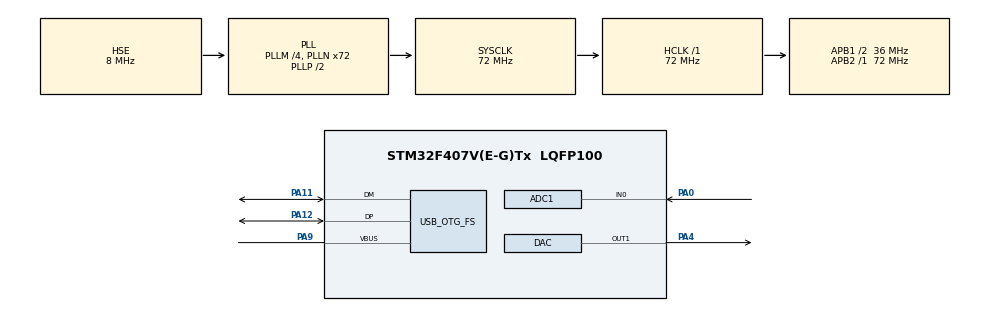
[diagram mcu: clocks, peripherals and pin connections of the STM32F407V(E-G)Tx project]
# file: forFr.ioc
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ADC1.Channel-0\#ChannelRegularConversion=ADC_CHANNEL_0
ADC1.ClockPrescaler=ADC_CLOCK_SYNC_PCLK_DIV2
ADC1.ContinuousConvMode=DISABLE
ADC1.DMAContinuousRequests=ENABLE
ADC1.DataAlign=ADC_DATAALIGN_RIGHT
ADC1.DiscontinuousConvMode=DISABLE
ADC1.EOCSelection=ADC_EOC_SINGLE_CONV
ADC1.EnableAnalogWatchDog=false
ADC1.ExternalTrigConv=ADC_EXTERNALTRIGCONV_T2_TRGO
ADC1.ExternalTrigConvEdge=ADC_EXTERNALTRIGCONVEDGE_RISING
ADC1.InjNumberOfConversion=0
ADC1.NbrOfConversion=1
ADC1.NbrOfConversionFlag=1
ADC1.Rank-0\#ChannelRegularConversion=1
ADC1.Resolution=ADC_RESOLUTION_12B
ADC1.SamplingTime-0\#ChannelRegularConversion=ADC_SAMPLETIME_3CYCLES
ADC1.ScanConvMode=ENABLE
ADC1.master=1
DAC.DAC_Trigger=DAC_TRIGGER_T2_TRGO
Dma.ADC1.0.Direction=DMA_PERIPH_TO_MEMORY
Dma.ADC1.0.FIFOMode=DMA_FIFOMODE_ENABLE
Dma.ADC1.0.FIFOThreshold=DMA_FIFO_THRESHOLD_FULL
Dma.ADC1.0.Instance=DMA2_Stream0
Dma.ADC1.0.MemBurst=DMA_MBURST_SINGLE
Dma.ADC1.0.MemDataAlignment=DMA_MDATAALIGN_HALFWORD
Dma.ADC1.0.MemInc=DMA_MINC_ENABLE
Dma.ADC1.0.Mode=DMA_CIRCULAR
Dma.ADC1.0.PeriphBurst=DMA_PBURST_SINGLE
Dma.ADC1.0.PeriphDataAlignment=DMA_PDATAALIGN_HALFWORD
Dma.ADC1.0.PeriphInc=DMA_PINC_DISABLE
Dma.ADC1.0.Priority=DMA_PRIORITY_LOW
Dma.DAC1.1.Direction=DMA_MEMORY_TO_PERIPH
Dma.DAC1.1.FIFOMode=DMA_FIFOMODE_DISABLE
Dma.DAC1.1.Instance=DMA1_Stream5
Dma.DAC1.1.MemDataAlignment=DMA_MDATAALIGN_HALFWORD
Dma.DAC1.1.MemInc=DMA_MINC_ENABLE
Dma.DAC1.1.Mode=DMA_CIRCULAR
Dma.DAC1.1.PeriphDataAlignment=DMA_PDATAALIGN_HALFWORD
Dma.DAC1.1.PeriphInc=DMA_PINC_DISABLE
Dma.DAC1.1.Priority=DMA_PRIORITY_MEDIUM
Dma.Request0=ADC1
Dma.Request1=DAC1
Mcu.Family=STM32F4
Mcu.Name=STM32F407V(E-G)Tx
Mcu.Package=LQFP100
NVIC.DMA1_Stream5_IRQn=true\:0\:0\:false\:false\:true\:false
NVIC.DMA2_Stream0_IRQn=true\:0\:0\:false\:false\:true\:false
NVIC.OTG_FS_IRQn=true\:0\:0\:false\:false\:true\:false
NVIC.PriorityGroup=NVIC_PRIORITYGROUP_0
NVIC.TIM2_IRQn=true\:0\:0\:false\:false\:true\:true
NVIC.TIM7_IRQn=true\:0\:0\:false\:false\:true\:true
PA0-WKUP.Signal=ADCx_IN0
PA11.Mode=Device_Only
PA11.Signal=USB_OTG_FS_DM
PA12.Mode=Device_Only
PA12.Signal=USB_OTG_FS_DP
PA13.Mode=Serial_Wire
PA13.Signal=SYS_JTMS-SWDIO
PA14.Mode=Serial_Wire
PA14.Signal=SYS_JTCK-SWCLK
PA4.Signal=COMP_DAC1_group
PA9.Mode=Activate_VBUS
PA9.Signal=USB_OTG_FS_VBUS
PH0-OSC_IN.Mode=HSE-External-Oscillator
PH0-OSC_IN.Signal=RCC_OSC_IN
PH1-OSC_OUT.Mode=HSE-External-Oscillator
PH1-OSC_OUT.Signal=RCC_OSC_OUT
ProjectManager.HeapSize=0x4000
ProjectManager.StackSize=0x4000
ProjectManager.TargetToolchain=EWARM V7
RCC.48MHZClocksFreq_Value=48000000
RCC.AHBFreq_Value=72000000
RCC.APB1CLKDivider=RCC_HCLK_DIV2
RCC.APB1Freq_Value=36000000
RCC.APB1TimFreq_Value=72000000
RCC.APB2Freq_Value=72000000
RCC.APB2TimFreq_Value=72000000
RCC.CortexFreq_Value=72000000
RCC.HCLKFreq_Value=72000000
RCC.HSE_VALUE=8000000
RCC.HSI_VALUE=16000000
RCC.LSE_VALUE=32768
RCC.PLLM=4
RCC.PLLN=72
RCC.PLLQ=3
RCC.SYSCLKFreq_VALUE=72000000
RCC.SYSCLKSource=RCC_SYSCLKSOURCE_PLLCLK
RCC.VCOOutputFreq_Value=144000000
SH.ADCx_IN0.0=ADC1_IN0,IN0
SH.COMP_DAC1_group.0=DAC_OUT1,DAC_OUT1
TIM2.Period=7
TIM2.Prescaler=8999
TIM2.TIM_MasterOutputTrigger=TIM_TRGO_UPDATE
TIM7.Period=7999
TIM7.Prescaler=8999
USB_DEVICE.CLASS_NAME_FS=CDC
USB_DEVICE.VirtualMode-CDC_FS=Cdc
USB_DEVICE.VirtualModeFS=Cdc_FS
USB_OTG_FS.VirtualMode=Device_Only
VP_TIM2_VS_ClockSourceINT.Mode=Internal
VP_TIM7_VS_ClockSourceINT.Mode=Enable_Timer
VP_USB_DEVICE_VS_USB_DEVICE_CDC_FS.Mode=CDC_FS
board=STM32F4DISCOVERY

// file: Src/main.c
/**
  ******************************************************************************
  * @file           : main.c
  * @brief          : Main program body
  ******************************************************************************
  * This notice applies to any and all portions of this file
  * that are not between comment pairs USER CODE BEGIN and
  * USER CODE END. Other portions of this file, whether
  * inserted by the user or by software development tools
  * are owned by their respective copyright owners.
  *
  * Copyright (c) 2019 STMicroelectronics International N.V.
  * All rights reserved.
  *
  * Redistribution and use in source and binary forms, with or without
  * modification, are permitted, provided that the following conditions are met:
  *
  * 1. Redistribution of source code must retain the above copyright notice,
  *    this list of conditions and the following disclaimer.
  * 2. Redistributions in binary form must reproduce the above copyright notice,
  *    this list of conditions and the following disclaimer in the documentation
  *    and/or other materials provided with the distribution.
  * 3. Neither the name of STMicroelectronics nor the names of other
  *    contributors to this software may be used to endorse or promote products
  *    derived from this software without specific written permission.
  * 4. This software, including modifications and/or derivative works of this
  *    software, must execute solely and exclusively on microcontroller or
  *    microprocessor devices manufactured by or for STMicroelectronics.
  * 5. Redistribution and use of this software other than as permitted under
  *    this license is void and will automatically terminate your rights under
  *    this license.
  *
  * THIS SOFTWARE IS PROVIDED BY STMICROELECTRONICS AND CONTRIBUTORS "AS IS"
  * AND ANY EXPRESS, IMPLIED OR STATUTORY WARRANTIES, INCLUDING, BUT NOT
  * LIMITED TO, THE IMPLIED WARRANTIES OF MERCHANTABILITY, FITNESS FOR A
  * PARTICULAR PURPOSE AND NON-INFRINGEMENT OF THIRD PARTY INTELLECTUAL PROPERTY
  * RIGHTS ARE DISCLAIMED TO THE FULLEST EXTENT PERMITTED BY LAW. IN NO EVENT
  * SHALL STMICROELECTRONICS OR CONTRIBUTORS BE LIABLE FOR ANY DIRECT, INDIRECT,
  * INCIDENTAL, SPECIAL, EXEMPLARY, OR CONSEQUENTIAL DAMAGES (INCLUDING, BUT NOT
  * LIMITED TO, PROCUREMENT OF SUBSTITUTE GOODS OR SERVICES; LOSS OF USE, DATA,
  * OR PROFITS; OR BUSINESS INTERRUPTION) HOWEVER CAUSED AND ON ANY THEORY OF
  * LIABILITY, WHETHER IN CONTRACT, STRICT LIABILITY, OR TORT (INCLUDING
  * NEGLIGENCE OR OTHERWISE) ARISING IN ANY WAY OUT OF THE USE OF THIS SOFTWARE,
  * EVEN IF ADVISED OF THE POSSIBILITY OF SUCH DAMAGE.
  *
  ******************************************************************************
  */
#include "main.h"
#include "stm32f4xx_hal.h"
#include "usb_device.h"

ADC_HandleTypeDef hadc1;
DMA_HandleTypeDef hdma_adc1;

TIM_HandleTypeDef htim2;
TIM_HandleTypeDef htim7;

/* USER CODE BEGIN PV */
/* Private variables ---------------------------------------------------------*/

/* USER CODE END PV */

void SystemClock_Config(void);
static void MX_GPIO_Init(void);
static void MX_DMA_Init(void);
static void MX_ADC1_Init(void);
static void MX_TIM2_Init(void);
static void MX_TIM7_Init(void);
static void MX_DAC_Init(void);

/* USER CODE BEGIN PFP */
/* Private function prototypes -----------------------------------------------*/

/* USER CODE END PFP */

/* USER CODE BEGIN 0 */
uint16_t ADC_Data;
uint32_t summ_ADC_DATA=0;
uint32_t cnt_adc=0;
uint32_t srednee;
uint8_t  sendData=0;

void TIM2_IRQHandler(void)
{
  HAL_TIM_IRQHandler(&htim2);

  summ_ADC_DATA += ADC_Data;
  cnt_adc++;
}

void TIM7_IRQHandler(void)
{
  HAL_TIM_IRQHandler(&htim7);

  //при 4095 соответствующем 3.3В, то значение в мВ:
  srednee = summ_ADC_DATA / cnt_adc*3300/4095;
  sendData = 1;
  summ_ADC_DATA = 0;
  cnt_adc=0;
}

/* USER CODE END 0 */

int main(void)
{

  /* MCU Configuration----------------------------------------------------------*/

  /* Reset of all peripherals, Initializes the Flash interface and the Systick. */
  HAL_Init();

  /* Configure the system clock */
  SystemClock_Config();

  /* Initialize all configured peripherals */
  MX_GPIO_Init();
  MX_DMA_Init();
  MX_USB_DEVICE_Init();
  MX_ADC1_Init();
  MX_TIM2_Init();
  MX_TIM7_Init();
  MX_DAC_Init();
  /* USER CODE BEGIN 2 */

  HAL_TIM_Base_Start(&htim2);
  HAL_TIM_Base_Start_IT(&htim2);
  HAL_TIM_Base_Start_IT(&htim7);

  HAL_ADC_Start_DMA(&hadc1,(uint32_t*)&ADC_Data,1);
  //HAL_DAC_Start_DMA(&hdac, DAC_CHANNEL_1,(uint32_t*)&ADC_Data,1,DAC_ALIGN_12B_R);
  LL_DAC_Enable(DAC, LL_DAC_CHANNEL_1);
  /* USER CODE END 2 */

  /* Infinite loop */
  while (1)
  {

  /* USER CODE BEGIN 3 */
    HAL_Delay(10);
    LL_DAC_ConvertData12RightAligned(DAC, LL_DAC_CHANNEL_1,(uint32_t)ADC_Data);
    if(sendData)
    {
      uint8_t str[64]="\0";
      sprintf((char*)str,"%d mV\r",srednee);
      printf("%s\n",str);
      CDC_Transmit_FS(str,strlen((char*)str));
      sendData = 0;
    }

  }
  /* USER CODE END 3 */

}

void SystemClock_Config(void)
{

  RCC_OscInitTypeDef RCC_OscInitStruct;
  RCC_ClkInitTypeDef RCC_ClkInitStruct;

    /**Configure the main internal regulator output voltage
    */
  __HAL_RCC_PWR_CLK_ENABLE();

  __HAL_PWR_VOLTAGESCALING_CONFIG(PWR_REGULATOR_VOLTAGE_SCALE1);

    /**Initializes the CPU, AHB and APB busses clocks
    */
  RCC_OscInitStruct.OscillatorType = RCC_OSCILLATORTYPE_HSE;
  RCC_OscInitStruct.HSEState = RCC_HSE_ON;
  RCC_OscInitStruct.PLL.PLLState = RCC_PLL_ON;
  RCC_OscInitStruct.PLL.PLLSource = RCC_PLLSOURCE_HSE;
  RCC_OscInitStruct.PLL.PLLM = 4;
  RCC_OscInitStruct.PLL.PLLN = 72;
  RCC_OscInitStruct.PLL.PLLP = RCC_PLLP_DIV2;
  RCC_OscInitStruct.PLL.PLLQ = 3;
  if (HAL_RCC_OscConfig(&RCC_OscInitStruct) != HAL_OK)
  {
    _Error_Handler(__FILE__, __LINE__);
  }

    /**Initializes the CPU, AHB and APB busses clocks
    */
  RCC_ClkInitStruct.ClockType = RCC_CLOCKTYPE_HCLK|RCC_CLOCKTYPE_SYSCLK
                              |RCC_CLOCKTYPE_PCLK1|RCC_CLOCKTYPE_PCLK2;
  RCC_ClkInitStruct.SYSCLKSource = RCC_SYSCLKSOURCE_PLLCLK;
  RCC_ClkInitStruct.AHBCLKDivider = RCC_SYSCLK_DIV1;
  RCC_ClkInitStruct.APB1CLKDivider = RCC_HCLK_DIV2;
  RCC_ClkInitStruct.APB2CLKDivider = RCC_HCLK_DIV1;

  if (HAL_RCC_ClockConfig(&RCC_ClkInitStruct, FLASH_LATENCY_2) != HAL_OK)
  {
    _Error_Handler(__FILE__, __LINE__);
  }

    /**Configure the Systick interrupt time
    */
  HAL_SYSTICK_Config(HAL_RCC_GetHCLKFreq()/1000);

    /**Configure the Systick
    */
  HAL_SYSTICK_CLKSourceConfig(SYSTICK_CLKSOURCE_HCLK);

  /* SysTick_IRQn interrupt configuration */
  HAL_NVIC_SetPriority(SysTick_IRQn, 0, 0);
}

/* ADC1 init function */
static void MX_ADC1_Init(void)
{

  ADC_ChannelConfTypeDef sConfig;

    /**Configure the global features of the ADC (Clock, Resolution, Data Alignment and number of conversion)
    */
  hadc1.Instance = ADC1;
  hadc1.Init.ClockPrescaler = ADC_CLOCK_SYNC_PCLK_DIV2;
  hadc1.Init.Resolution = ADC_RESOLUTION_12B;
  hadc1.Init.ScanConvMode = ENABLE;
  hadc1.Init.ContinuousConvMode = DISABLE;
  hadc1.Init.DiscontinuousConvMode = DISABLE;
  hadc1.Init.ExternalTrigConvEdge = ADC_EXTERNALTRIGCONVEDGE_RISING;
  hadc1.Init.ExternalTrigConv = ADC_EXTERNALTRIGCONV_T2_TRGO;
  hadc1.Init.DataAlign = ADC_DATAALIGN_RIGHT;
  hadc1.Init.NbrOfConversion = 1;
  hadc1.Init.DMAContinuousRequests = ENABLE;
  hadc1.Init.EOCSelection = ADC_EOC_SINGLE_CONV;
  if (HAL_ADC_Init(&hadc1) != HAL_OK)
  {
    _Error_Handler(__FILE__, __LINE__);
  }

    /**Configure for the selected ADC regular channel its corresponding rank in the sequencer and its sample time.
    */
  sConfig.Channel = ADC_CHANNEL_0;
  sConfig.Rank = 1;
  sConfig.SamplingTime = ADC_SAMPLETIME_3CYCLES;
  if (HAL_ADC_ConfigChannel(&hadc1, &sConfig) != HAL_OK)
  {
    _Error_Handler(__FILE__, __LINE__);
  }

}

/* DAC init function */
static void MX_DAC_Init(void)
{

  LL_DAC_InitTypeDef DAC_InitStruct;

  LL_GPIO_InitTypeDef GPIO_InitStruct;

  /* Peripheral clock enable */
  LL_APB1_GRP1_EnableClock(LL_APB1_GRP1_PERIPH_DAC1);

  /**DAC GPIO Configuration
  PA4   ------> DAC_OUT1
  */
  GPIO_InitStruct.Pin = LL_GPIO_PIN_4;
  GPIO_InitStruct.Mode = LL_GPIO_MODE_ANALOG;
  GPIO_InitStruct.Pull = LL_GPIO_PULL_NO;
  LL_GPIO_Init(GPIOA, &GPIO_InitStruct);

  /* DAC DMA Init */

  /* DAC1 Init */
  LL_DMA_SetChannelSelection(DMA1, LL_DMA_STREAM_5, LL_DMA_CHANNEL_7);

  LL_DMA_SetDataTransferDirection(DMA1, LL_DMA_STREAM_5, LL_DMA_DIRECTION_MEMORY_TO_PERIPH);

  LL_DMA_SetStreamPriorityLevel(DMA1, LL_DMA_STREAM_5, LL_DMA_PRIORITY_MEDIUM);

  LL_DMA_SetMode(DMA1, LL_DMA_STREAM_5, LL_DMA_MODE_CIRCULAR);

  LL_DMA_SetPeriphIncMode(DMA1, LL_DMA_STREAM_5, LL_DMA_PERIPH_NOINCREMENT);

  LL_DMA_SetMemoryIncMode(DMA1, LL_DMA_STREAM_5, LL_DMA_MEMORY_INCREMENT);

  LL_DMA_SetPeriphSize(DMA1, LL_DMA_STREAM_5, LL_DMA_PDATAALIGN_HALFWORD);

  LL_DMA_SetMemorySize(DMA1, LL_DMA_STREAM_5, LL_DMA_MDATAALIGN_HALFWORD);

  LL_DMA_DisableFifoMode(DMA1, LL_DMA_STREAM_5);

    /**DAC channel OUT1 config
    */
  DAC_InitStruct.TriggerSource = LL_DAC_TRIG_EXT_TIM2_TRGO;
  DAC_InitStruct.WaveAutoGeneration = LL_DAC_WAVE_AUTO_GENERATION_NONE;
  DAC_InitStruct.OutputBuffer = LL_DAC_OUTPUT_BUFFER_ENABLE;
  LL_DAC_Init(DAC, LL_DAC_CHANNEL_1, &DAC_InitStruct);

}

/* TIM2 init function */
static void MX_TIM2_Init(void)
{

  TIM_ClockConfigTypeDef sClockSourceConfig;
  TIM_MasterConfigTypeDef sMasterConfig;

  htim2.Instance = TIM2;
  htim2.Init.Prescaler = 8999;
  htim2.Init.CounterMode = TIM_COUNTERMODE_UP;
  htim2.Init.Period = 7;
  htim2.Init.ClockDivision = TIM_CLOCKDIVISION_DIV1;
  if (HAL_TIM_Base_Init(&htim2) != HAL_OK)
  {
    _Error_Handler(__FILE__, __LINE__);
  }

  sClockSourceConfig.ClockSource = TIM_CLOCKSOURCE_INTERNAL;
  if (HAL_TIM_ConfigClockSource(&htim2, &sClockSourceConfig) != HAL_OK)
  {
    _Error_Handler(__FILE__, __LINE__);
  }

  sMasterConfig.MasterOutputTrigger = TIM_TRGO_UPDATE;
  sMasterConfig.MasterSlaveMode = TIM_MASTERSLAVEMODE_DISABLE;
  if (HAL_TIMEx_MasterConfigSynchronization(&htim2, &sMasterConfig) != HAL_OK)
  {
    _Error_Handler(__FILE__, __LINE__);
  }

}

/* TIM7 init function */
static void MX_TIM7_Init(void)
{

  TIM_MasterConfigTypeDef sMasterConfig;

  htim7.Instance = TIM7;
  htim7.Init.Prescaler = 8999;
  htim7.Init.CounterMode = TIM_COUNTERMODE_UP;
  htim7.Init.Period = 7999;
  if (HAL_TIM_Base_Init(&htim7) != HAL_OK)
  {
    _Error_Handler(__FILE__, __LINE__);
  }

  sMasterConfig.MasterOutputTrigger = TIM_TRGO_RESET;
  sMasterConfig.MasterSlaveMode = TIM_MASTERSLAVEMODE_DISABLE;
  if (HAL_TIMEx_MasterConfigSynchronization(&htim7, &sMasterConfig) != HAL_OK)
  {
    _Error_Handler(__FILE__, __LINE__);
  }

}

static void MX_DMA_Init(void)
{
  /* DMA controller clock enable */
  __HAL_RCC_DMA2_CLK_ENABLE();
  __HAL_RCC_DMA1_CLK_ENABLE();

  /* DMA interrupt init */
  /* DMA1_Stream5_IRQn interrupt configuration */
  NVIC_SetPriority(DMA1_Stream5_IRQn, NVIC_EncodePriority(NVIC_GetPriorityGrouping(),0, 0));
  NVIC_EnableIRQ(DMA1_Stream5_IRQn);
  /* DMA2_Stream0_IRQn interrupt configuration */
  HAL_NVIC_SetPriority(DMA2_Stream0_IRQn, 0, 0);
  HAL_NVIC_EnableIRQ(DMA2_Stream0_IRQn);

}

/** Configure pins as
        * Analog
        * Input
        * Output
        * EVENT_OUT
        * EXTI
*/
static void MX_GPIO_Init(void)
{

  /* GPIO Ports Clock Enable */
  __HAL_RCC_GPIOH_CLK_ENABLE();
  __HAL_RCC_GPIOA_CLK_ENABLE();

}

void _Error_Handler(char *file, int line)
{
  while(1)
  {
  }
}

/************************ (C) COPYRIGHT STMicroelectronics *****END OF FILE****/
